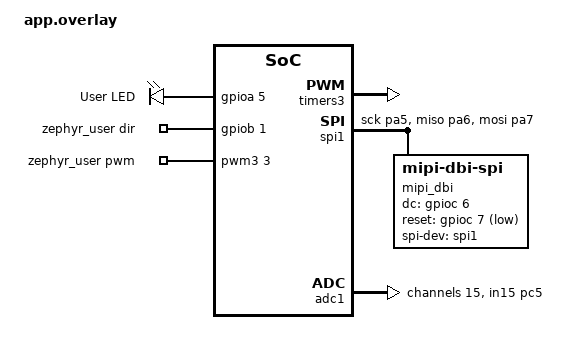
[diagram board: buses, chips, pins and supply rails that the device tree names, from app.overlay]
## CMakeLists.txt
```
cmake_minimum_required(VERSION 3.22)

set(ZEPHYR_TOOLCHAIN_VARIANT zephyr)
set(BOARD_ROOT ${CMAKE_CURRENT_LIST_DIR})

# Tell Zephyr to search app/boards/ for custom board definitions
list(APPEND BOARD_ROOT ${CMAKE_CURRENT_SOURCE_DIR})

find_package(Zephyr REQUIRED HINTS $ENV{ZEPHYR_BASE})
project(app)

target_include_directories(app PRIVATE src)

target_sources(app PRIVATE
	src/main.c
	src/temp/ssr.c
	src/display/display.c
	src/stepper/drv8452_spi.c
	src/stepper/stepper.c
	src/stepper/limit_sw.c
	src/temp/temp.c
	src/temp/temp_sensor.c
	src/temp/temp_control.c
	src/states/states.c)
```

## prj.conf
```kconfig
CONFIG_GPIO=y
CONFIG_BOOT_DELAY=500
CONFIG_REBOOT=y
CONFIG_HWINFO=y
CONFIG_PWM=y

# Console: RTT over SWD (no UART needed)

# RTT Console
CONFIG_USE_SEGGER_RTT=y
CONFIG_RTT_CONSOLE=y
CONFIG_UART_CONSOLE=n

# Logging via RTT
CONFIG_LOG=y
CONFIG_LOG_BACKEND_RTT=y
CONFIG_LOG_BACKEND_UART=n
CONFIG_LOG_PROCESS_THREAD=y

# Shell over RTT (Optional)
CONFIG_SHELL=y
CONFIG_SHELL_BACKENDS=y
CONFIG_SHELL_BACKEND_RTT=y
CONFIG_SHELL_BACKEND_SERIAL=n

CONFIG_SHELL_BACKEND_RTT_BUFFER=1
CONFIG_LOG_BACKEND_RTT_BUFFER=0

# ── Stack sizes ────────────────────────────────────────────────
CONFIG_MAIN_STACK_SIZE=2048
CONFIG_SYSTEM_WORKQUEUE_STACK_SIZE=2048
CONFIG_LV_Z_FLUSH_THREAD=n
# Use static buffer allocation — avoids heap allocation during init
CONFIG_LV_Z_BUFFER_ALLOC_STATIC=y

# Set bits per pixel explicitly for static buffer size calculation
CONFIG_LV_Z_BITS_PER_PIXEL=16


# ── Memory ─────────────────────────────────────────────────────
# Heap covers k_malloc, LVGL fallback allocs, and Zephyr drivers.
# 32KB is safer with two threads and LVGL running simultaneously.
CONFIG_HEAP_MEM_POOL_SIZE=16384

CONFIG_SPI=y
CONFIG_DISPLAY=y
CONFIG_ILI9341=y
CONFIG_MIPI_DBI=y

# ── LVGL ───────────────────────────────────────────────────────
CONFIG_LVGL=y
CONFIG_LV_COLOR_DEPTH_16=y
CONFIG_LV_COLOR_16_SWAP=y

# Memory pool: 32KB gives LVGL enough room for your screen objects.
# If you see LVGL assert failures lower this and check for leaks.
CONFIG_LV_Z_MEM_POOL_SIZE=16384

# Fonts — all used in display.c
CONFIG_LV_FONT_MONTSERRAT_12=y
CONFIG_LV_FONT_MONTSERRAT_14=y
CONFIG_LV_FONT_MONTSERRAT_16=y
CONFIG_LV_FONT_MONTSERRAT_18=y
CONFIG_LV_FONT_MONTSERRAT_28=y
CONFIG_LV_FONT_MONTSERRAT_40=y

# Widgets used in display.c
CONFIG_LV_USE_LABEL=y
CONFIG_LV_USE_BAR=y
CONFIG_LV_USE_LINE=y
CONFIG_LV_USE_ARC=y

CONFIG_FAULT_DUMP=2
CONFIG_MPU_STACK_GUARD=y

# ── Input subsystem ────────────────────────────────────────────
# Encoder and buttons are raw GPIO ISR — input subsystem only
# needed for its kernel infrastructure, not the qdec/keys drivers.
CONFIG_INPUT=y
# CONFIG_INPUT_GPIO_QDEC=y   — not used, encoder is raw GPIO ISR
# CONFIG_INPUT_GPIO_KEYS=y   — not used, buttons are raw GPIO ISR


# ── Fonts ──────────────────────────────────────────────────────
CONFIG_LV_FONT_MONTSERRAT_24=y

# ── Disable unused LVGL widgets (LVGL v9 symbols only) ─────────
CONFIG_LV_USE_CALENDAR=n
CONFIG_LV_USE_CALENDAR_HEADER_ARROW=n
CONFIG_LV_USE_CALENDAR_HEADER_DROPDOWN=n
CONFIG_LV_USE_CANVAS=n
CONFIG_LV_USE_CHECKBOX=n
CONFIG_LV_USE_DROPDOWN=n
CONFIG_LV_USE_ROLLER=n
CONFIG_LV_USE_SLIDER=n
CONFIG_LV_USE_SWITCH=n
CONFIG_LV_USE_TEXTAREA=n
CONFIG_LV_USE_TABLE=n
CONFIG_LV_USE_ANIMIMG=n
CONFIG_LV_USE_CHART=n
CONFIG_LV_USE_KEYBOARD=n
CONFIG_LV_USE_LED=n
CONFIG_LV_USE_LIST=n
CONFIG_LV_USE_MENU=n
CONFIG_LV_USE_MSGBOX=n
CONFIG_LV_USE_SPAN=n
CONFIG_LV_USE_SPINBOX=n
CONFIG_LV_USE_SPINNER=n
CONFIG_LV_USE_TABVIEW=n
CONFIG_LV_USE_TILEVIEW=n
CONFIG_LV_USE_WIN=n
CONFIG_LV_USE_THEME_DEFAULT=n
CONFIG_LV_USE_SNAPSHOT=n

#debugging
CONFIG_DEBUG_OPTIMIZATIONS=y
CONFIG_CBPRINTF_FP_SUPPORT=y

# Peripherals (uncomment as each subsystem is implemented)
# CONFIG_I2C=y     # AS5600 absolute encoder
CONFIG_ADC=y       # PT1000 temperature sensing
# CONFIG_PWM=y     # SSR heater (TIM1_CH1, PA8)
```

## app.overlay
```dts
#include <zephyr/dt-bindings/gpio/gpio.h>
#include <zephyr/dt-bindings/input/input-event-codes.h>
#include <zephyr/dt-bindings/pwm/pwm.h>
#include <zephyr/dt-bindings/adc/adc.h>
#include <zephyr/dt-bindings/display/panel.h>

/* ── Clock — use internal HSI, no external crystal on PCB ── */
&clk_hse {
    status = "disabled";
};

&pll {
    clocks = <&clk_hsi>;
    div-m = <16>;
    mul-n = <192>;
    div-p = <2>;
    div-q = <4>;
    status = "okay";
};

/* ── Free button pins from conflicting peripherals ──────────
 * PB10 = forward button  → also I2C2 SCL  → disable I2C2
 * PB15 = backward button → also SPI2 MOSI → disable SPI2
 * ─────────────────────────────────────────────────────────── */
&i2c2 {
    status = "disabled";
};

&spi2 {
    status = "disabled";
};

/ {
    /* Encoder (PC10/PC11) and buttons (PB10/PB15) are raw GPIO
     * ISR in display.c — no gpio-keys or gpio-qdec nodes needed.
     *
     * LED removed — PA5 conflicts with SPI1 SCK (display clock).
     * Add back once a free pin is confirmed on the PCB schematic. */

    chosen {
        zephyr,display = &ili9341;
    };

    aliases {
        stepper-step = &stepper_step_gpio;
        stepper-dir  = &stepper_dir_gpio;
        led0         = &user_led;
    };

    lvgl_encoder: lvgl_encoder {
        compatible = "zephyr,lvgl-encoder-input";
        rotation-input-code = <INPUT_REL_X>;
    };

    stepper_step_gpio: stepper_step {
        compatible = "gpio-leds";
        gpios = <&gpioa 0 GPIO_ACTIVE_HIGH>;    /* VERIFY pin against schematic */
    };

    stepper_dir_gpio: stepper_dir {
        compatible = "gpio-leds";
        gpios = <&gpioa 1 GPIO_ACTIVE_HIGH>;    /* VERIFY pin against schematic */
    };

    leds {
        compatible = "gpio-leds";
        user_led: led_0 {
            gpios = <&gpioa 5 GPIO_ACTIVE_HIGH>; /* VERIFY pin against schematic */
            label = "User LED";
        };
    };

    encoder: encoder {
        compatible = "gpio-qdec";
        gpios = <&gpiob 3 (GPIO_ACTIVE_HIGH | GPIO_PULL_UP)>,
                <&gpioa 10 (GPIO_ACTIVE_HIGH | GPIO_PULL_UP)>;
        zephyr,axis = <INPUT_REL_X>;
        steps-per-period = <4>;
        sample-time-us = <2000>;
        idle-timeout-ms = <200>;
        status = "disabled";
    };

    /*
     * Stepper motor resources for stepper.c (DRV8452, hardware interface mode)
     *
     * LQFP64 pin 26 = PB0 → STEP (TIM3_CH3 PWM output)
     * LQFP64 pin 27 = PB1 → DIR  (GPIO output)
     *
     * step-gpios is wired to PB0 (same pin as PWM output). On STM32 the GPIO
     * input buffer remains active in AF mode, so EXTI fires on every rising
     * edge of the TIM3_CH3 output. The step ISR in stepper.c uses this to
     * count pulses and stop the PWM exactly at the target step count.
     */
    zephyr_user: zephyr_user {
        compatible = "zephyr,user";
        pwms      = <&pwm3 3 100000 PWM_POLARITY_NORMAL>; /* TIM3_CH3, PB0 */
        dir-gpios  = <&gpiob 1 GPIO_ACTIVE_HIGH>;          /* PB1            */
    };
};

&gpiob {
    status = "okay";
};

&gpioc {
    status = "okay";
};

/* TIM3_CH3 on PB0 — STEP PWM output to DRV8452 */
&timers3 {
    status = "okay";
    st,prescaler = <1499>;  /* 96 MHz / 1500 = 64 kHz → max step period ~1.024 s */

    pwm3: pwm {
        status = "okay";
        pinctrl-0 = <&tim3_ch3_pb0>;
        pinctrl-names = "default";
        #pwm-cells = <3>;
    };
};

&spi1 {
    status = "okay";
    pinctrl-0 = <&spi1_sck_pa5 &spi1_miso_pa6 &spi1_mosi_pa7>;
    pinctrl-names = "default";
    cs-gpios = <&gpioa 4 GPIO_ACTIVE_LOW>;

    mipi_dbi: mipi-dbi-spi {
        compatible = "zephyr,mipi-dbi-spi";
        dc-gpios    = <&gpioc 6 GPIO_ACTIVE_HIGH>;
        reset-gpios = <&gpioc 7 GPIO_ACTIVE_LOW>;
        spi-dev     = <&spi1>;
        write-only;
        #address-cells = <1>;
        #size-cells    = <0>;

        ili9341: ili9341@0 {
            compatible        = "ilitek,ili9341";
            mipi-max-frequency = <25000000>;
            reg          = <0>;
            width        = <240>;
            height       = <320>;
            pixel-format = <PANEL_PIXEL_FORMAT_RGB_565X>;
            rotation     = <270>;
            frmctr1  = [00 1b];
            pwctrl1  = [10];
            vmctrl1  = [31 3c];
            vmctrl2  = [c0];
            pgamctrl = [0f 22 1f 0a 0e 06 4d 76 3b 03 0e 04 13 0e 0c];
            ngamctrl = [0c 23 26 04 10 04 39 24 4b 03 0b 0b 33 37 0f];
        };
    };
};

/* SPI2 hardware node DISABLED — top-row J502 traces (PB12-PB15) confirmed
 * physically dead. DRV8452 is now driven by GPIO bit-bang on bottom-row pins:
 *   PB6=nCS  PB7=SCLK  PB8=MOSI  PB5=MISO
 * NOTE: PB6 overlaps SPI1 cs-gpios (display) and PB8 overlaps MIPI DBI dc-gpios.
 * Display will not work while DRV8452 bit-bang is active on these pins. */

/* ADC1_IN15 on PC5 — PT1000 temperature sensing via voltage divider */
&pinctrl {
    adc1_in15_pc5: adc1_in15_pc5 {
        pinmux = <STM32_PINMUX('C', 5, ANALOG)>;
    };
};

&adc1 {
    status = "okay";
    #address-cells = <1>;
    #size-cells = <0>;
    pinctrl-0 = <&adc1_in15_pc5>;
    pinctrl-names = "default";
    st,adc-prescaler = <4>; /* APB2=90MHz → ADC clk=22.5MHz (max 36MHz) */

    channel@f {
        reg = <15>;
        zephyr,gain = "ADC_GAIN_1";
        zephyr,reference = "ADC_REF_INTERNAL";
        zephyr,acquisition-time = <ADC_ACQ_TIME_DEFAULT>;
        zephyr,resolution = <12>;
    };
};
```

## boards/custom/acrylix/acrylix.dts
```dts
/dts-v1/;

#include <st/f4/stm32f446Xe.dtsi>
#include <st/f4/stm32f446r(c-e)tx-pinctrl.dtsi>
#include <zephyr/dt-bindings/input/input-event-codes.h>

/ {
    model = "Acrylix Custom PCB";
    compatible = "custom,acrylix";

    chosen {
        zephyr,sram  = &sram0;
        zephyr,flash = &flash0;
    };
};

/* ── Clocks: HSI (16 MHz) → PLL → 180 MHz SYSCLK ── */
&clk_hsi {
    status = "okay";
};

&pll {
    div-m = <16>;
    mul-n = <360>;
    div-p = <2>;
    div-q = <8>;
    clocks = <&clk_hsi>;
    status = "okay";
};

&rcc {
    clocks = <&pll>;
    clock-frequency = <DT_FREQ_M(180)>;
    ahb-prescaler  = <1>;
    apb1-prescaler = <4>;   /* APB1 max 45 MHz → 180/4 = 45 MHz */
    apb2-prescaler = <2>;   /* APB2 max 90 MHz → 180/2 = 90 MHz */
};
```

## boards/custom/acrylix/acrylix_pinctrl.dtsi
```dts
/* Intentionally empty.
   All STM32 pinctrl definitions are provided by the SoC-level DTSI included
   in plaitpilot_procpu.dts:
       #include <st/f4/stm32f446r(c-e)tx-pinctrl.dtsi>
   Peripheral pinctrl-0 assignments are made per-node in app.overlay. */
```

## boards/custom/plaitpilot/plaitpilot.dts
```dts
/dts-v1/;

#include <st/f4/stm32f446Xe.dtsi>
#include "plaitpilot_pinctrl.dtsi"
#include <zephyr/dt-bindings/input/input-event-codes.h>

/ {
    model = "plaitpilot";
    compatible = "custom,plaitpilot";

    aliases {
        watchdog0 = &iwdg;
        led0 = &led0;
        uart-0 = &usart2;
        sw0 = &button0;
    };

    chosen {
        zephyr,sram = &sram0;
        zephyr,console = &usart2;
        zephyr,shell-uart = &usart2;
        zephyr,flash = &flash0;
    };

    buttons {
        compatible = "gpio-keys";
        button0: button_0 {
            gpios = <&gpioc 13 (GPIO_PULL_UP | GPIO_ACTIVE_LOW)>;
            label = "User Button";
            zephyr,code = <INPUT_KEY_0>;
        };
    };

    led {
        compatible = "gpio-leds";
        led0: led_0 {
            gpios = <&gpiob 10 GPIO_ACTIVE_HIGH>;
        };
    };
};

&usart2 {
    status = "okay";
    current-speed = <115200>;
    pinctrl-0 = <&usart2_tx_pa2 &usart2_rx_pa3>;
    pinctrl-names = "default";
};

&gpioa {
    status = "okay";
};

&gpiob {
    status = "okay";
};

&gpioc {
    status = "okay";
};

&iwdg {
    status = "okay";
};
```

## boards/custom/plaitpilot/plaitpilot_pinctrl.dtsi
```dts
#include <zephyr/dt-bindings/pinctrl/stm32-pinctrl.h>

&pinctrl {
    usart2_tx_pa2: usart2_tx_pa2 {
        pinmux = <STM32_PINMUX('A', 2, AF7)>;
    };
    usart2_rx_pa3: usart2_rx_pa3 {
        pinmux = <STM32_PINMUX('A', 3, AF7)>;
        bias-pull-up;
    };

    spi1_sck_pa5: spi1_sck_pa5 {
        pinmux = <STM32_PINMUX('A', 5, AF5)>;
        drive-push-pull;
        slew-rate = "very-high-speed";
    };
    spi1_miso_pa6: spi1_miso_pa6 {
        pinmux = <STM32_PINMUX('A', 6, AF5)>;
        bias-pull-down;
    };
    spi1_mosi_pa7: spi1_mosi_pa7 {
        pinmux = <STM32_PINMUX('A', 7, AF5)>;
        drive-push-pull;
        slew-rate = "very-high-speed";
    };
};
```

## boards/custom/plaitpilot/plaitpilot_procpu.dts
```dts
/dts-v1/;

#include "espressif/esp32/esp32_wroom_32ue_n4.dtsi"
#include "plaitpilot_pinctrl.dtsi"
// this is standard input codes like for a keyboard, mouse, joystick etc. - the purpose is for convenience
// you can always use these zephyr specific input macros in source code as long as you define them in this dts file, this way only the dts file changes and the source code does not
#include <zephyr/dt-bindings/input/input-event-codes.h>
// this is the SoC configuration (partitions like boot, appcpu, procpu, sys, storage, coredump)
#include <espressif/partitions_0x0_amp.dtsi>

/ {
    model = "plaitpilot PROCPU";
    compatible = "custom,plaitpilot";

    aliases {
        //driver code uses this to keep procesors alive during code execution
        watchdog0 = &wdt0;
        // this is an LED that is "permenantly" soldered on the board
        led0 = &led0;
        uart-0 = &uart0;
        sw0 = &button0;
    };

    // this determines which hardware instances you want to use for core system level functions
    chosen {
        zephyr,sram = &sram0;
        zephyr,console = &uart0;
        zephyr,shell-uart = &uart0;
        zephyr,flash = &flash0;
        zephyr,code-partition = &slot0_partition;
    };

    buttons {
        compatible = "gpio-keys";
        button0: button_0 {
            gpios = <&gpio 0 (GPIO_PULL_UP | GPIO_ACTIVE_LOW)>;
            label = "Boot Button";
            zephyr,code = <INPUT_KEY_0>;
        };
    };

    led {
        compatible = "gpio-leds";
        // this is SPI MOSI for plaitpliot, this is just for a blinky demo
        led0: d13 {
            gpios = <&gpio 13 GPIO_ACTIVE_HIGH>;
        };
    };
};

&uart0 {
    status = "okay";
    current-speed = <115200>;
    pinctrl-0 = <&uart0_default>;
    pinctrl-names = "default";
};

&gpio0 {
    status = "okay";
};

&wdt0 {
    status = "okay";
};
```

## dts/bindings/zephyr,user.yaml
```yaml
description: Generic zephyr,user node for passing board-level resources to application code.

compatible: "zephyr,user"

properties:
  pwms:
    type: phandle-array
    description: PWM specifier for stepper STEP signal.

  dir-gpios:
    type: phandle-array
    description: GPIO for stepper direction.

  step-gpios:
    type: phandle-array
    description: GPIO feedback pin for counting step pulses.
```

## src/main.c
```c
/* main.c */
#include <zephyr/kernel.h>
#include <zephyr/device.h>
#include <zephyr/drivers/gpio.h>
#include <zephyr/sys/reboot.h>
#include <zephyr/drivers/hwinfo.h>
#include "states/states.h"
#include "display/display.h"
#include "stepper/stepper.h"
#include "stepper/limit_sw.h"
#include "stepper/drv8452_spi.h"
#include "temp/temp_control.h"
#include "temp/temp_sensor.h"
#include "app_events.h"

/* ══════════════════════════════════════════════════════════════
 *  Heating time constants
 * ══════════════════════════════════════════════════════════════ */

#define HEAT_TIME_1_16_MS   240000   /* 1/16 in — 10 s */
#define HEAT_TIME_1_8_MS    240000   /* 1/8 in  — 5 s  */
#define COOL_TIME_MS        120000   /* cooling duration */

/* ══════════════════════════════════════════════════════════════
 *  Bending constants
 * ══════════════════════════════════════════════════════════════ */
#define BEND_TIME_MS        10000   /* bending duration — adjust later */
#define BEND_RPM            0.3f   /* RPM during bending */
#define HOME_RPM            0.5f   /* RPM during homing — slow for accuracy */
#define HOME_MAX_DEG        360.0f   /* max output-shaft degrees when homing (1 full rev) */

/* ══════════════════════════════════════════════════════════════
 *  Message queues (definitions — declared extern in states.h)
 * ══════════════════════════════════════════════════════════════ */

K_MSGQ_DEFINE(event_queue,   sizeof(system_event_t), 8, 4);
K_MSGQ_DEFINE(display_queue, sizeof(display_msg_t),  4, 4);

/* ══════════════════════════════════════════════════════════════
 *  Thread config
 * ══════════════════════════════════════════════════════════════ */

#define STATE_STACK_SIZE    8192
#define STATE_PRIORITY      7
#define DISPLAY_STACK_SIZE  20480   /* 20KB — debug optimizations inflate stack frames */
#define DISPLAY_PRIORITY    6

K_THREAD_STACK_DEFINE(state_stack,   STATE_STACK_SIZE);
K_THREAD_STACK_DEFINE(display_stack, DISPLAY_STACK_SIZE);
static struct k_thread state_thread_data;
static struct k_thread display_thread_data;


/* ══════════════════════════════════════════════════════════════
 *  State machine thread
 * ══════════════════════════════════════════════════════════════ */

void state_thread(void *p1, void *p2, void *p3)
{
    ARG_UNUSED(p1); ARG_UNUSED(p2); ARG_UNUSED(p3);
    size_t stack_free;
    k_thread_stack_space_get(k_current_get(), &stack_free);
    printk("State thread started, stack free: %zu\n", stack_free);

    while (1) {
        switch (g_sm.current) {

        /* ── HOMING ───────────────────────────────────────────
         * Enable driver, drive backward until limit switch ISR
         * fires (sets g_triggered flag + calls emergency_stop to
         * unblock the move), then reset position.
         * ─────────────────────────────────────────────────── */
        case STATE_HOMING: {
            limit_sw_set_enabled(true);
            drv8452_set_current(0x00u);  /* restore 100% current for homing move */

            /* Wait for any thermal fault to clear before moving */
            {
                int64_t fault_wait_start = k_uptime_get();
                while (drv8452_read_fault()) {
                    if (k_uptime_get() - fault_wait_start > 15000) {
                        printk("Homing: fault did not clear after 15s\n");
                        break;
                    }
                    drv8452_disable();
                    k_msleep(500);
                    drv8452_enable();
                }
            }

            drv8452_enable();
            limit_sw_clear_trigger();

            if (limit_sw_is_pressed()) {
                printk("Homing: already at home\n");
                stepper_reset_position();
                drv8452_disable();
                sm_transition(STATE_IDLE);
                break;
            }

            printk("Homing: moving backward %.0f deg at %.1f RPM\n",
                   (double)HOME_MAX_DEG, (double)HOME_RPM);
            stepper_move_degrees(HOME_MAX_DEG, HOME_RPM);

            if (limit_sw_triggered()) {
                printk("Homing: home found\n");
                stepper_reset_position();
                drv8452_disable();
                sm_transition(STATE_IDLE);
            } else {
                printk("Homing: limit switch not found — ERROR\n");
                g_sm.error_code = ERROR_HOMING_FAILED;
                drv8452_disable();
                sm_transition(STATE_ERROR);
            }
            break;
        }


        /* ── IDLE ─────────────────────────────────────────────
         * Directions screen shown. Wait for forward button
         * to post EVT_START_INIT.
         * ─────────────────────────────────────────────────── */
        case STATE_IDLE: {
            system_event_t evt;
            if (k_msgq_get(&event_queue, &evt, K_MSEC(100)) == 0) {
                if (evt == EVT_START_INIT) {
                    sm_transition(STATE_INITIALIZATION);
                }
            }
            break;
        }

        /* ── INITIALIZATION ───────────────────────────────────
         * Input screens run on display thread.
         * Wait for EVT_START_BEND posted after thickness confirm.
         * ─────────────────────────────────────────────────── */
        case STATE_INITIALIZATION: {
            system_event_t evt;
            if (k_msgq_get(&event_queue, &evt, K_MSEC(100)) == 0) {
                if (evt == EVT_START_HEAT) {
                    sm_transition(STATE_HEAT);
                }
                /* User pressed back from first input step */
                if (evt == EVT_START_IDLE) {
                    sm_transition(STATE_IDLE);
                }
            }
            break;
        }

        /* ── HEAT ─────────────────────────────────────────────
         * Turn on heating element to correct temperature.
         * Start timer to heat acrylic.
         * ─────────────────────────────────────────────────── */

        case STATE_HEAT: {
            #define TARGET_TEMP         150.0f   //make 150
            #define WARMUP_TIMEOUT_MS   120000

            printk("HEAT: starting heater, target=%.1f C\n", (double)TARGET_TEMP);
            heater_start();

            bool heat_error = false;
            int64_t warmup_start = k_uptime_get();

            /* Phase 1 — warmup: wait for target temperature */
            while (temp_get_ema() < TARGET_TEMP) {
                display_post_heat_temp(temp_get_ema());
                printk("HEAT: current=%.1f C\n", (double)temp_get_ema());
                k_sleep(K_MSEC(500));
                /*if (k_uptime_get() - warmup_start > WARMUP_TIMEOUT_MS) {
                    printk("HEAT: warmup timeout\n");
                    heat_error = true;
                    break;
                }*/
            }

            if (heat_error) {
                heater_stop();
                g_sm.error_code = ERROR_HEATER_TEMP;
                sm_transition(STATE_ERROR);
                break;
            }

            printk("HEAT: target temperature reached\n");

            /* Phase 2 — soak: hold at temperature for thickness-dependent time */
            int heat_ms = (g_inputs.thickness == 1)
                          ? HEAT_TIME_1_8_MS
                          : HEAT_TIME_1_16_MS;

            printk("HEAT: soaking %d ms (thickness=%s)\n",
                   heat_ms,
                   g_inputs.thickness == 1 ? "1/8 in" : "1/16 in");

            k_sem_take(&display_screen_ready, K_MSEC(2000));
            int64_t soak_start = k_uptime_get();
            while (1) {
                int64_t elapsed = k_uptime_get() - soak_start;
                if (elapsed >= heat_ms) break;
                int rem_ms = heat_ms - (int)elapsed;
                g_progress.pct = (int)((elapsed * 100) / heat_ms);
                g_progress.min = rem_ms / 60000;
                g_progress.sec = (rem_ms % 60000) / 1000;
                __DMB();
                g_progress.pending = true;
                k_sleep(K_MSEC(500));
            }
            g_progress.pct = 100;
            g_progress.min = 0;
            g_progress.sec = 0;
            __DMB();
            g_progress.pending = true;
            k_sleep(K_MSEC(300));

            heater_stop();
            printk("HEAT: done\n");
            sm_transition(STATE_BEND);
            break;
        }

        /* ── BEND ─────────────────────────────────────────────
         * Move motor to the user-selected bend angle.
         * Limit switch is the HOME sensor — not used here.
         * ─────────────────────────────────────────────────── */
        case STATE_BEND: {
            float target_deg = (float)g_inputs.bend_angle;
            printk("BEND: moving %.1f degrees at %.1f RPM\n",
                   (double)target_deg, (double)BEND_RPM);
            limit_sw_set_enabled(false);
            stepper_move_degrees(-target_deg, BEND_RPM);
            limit_sw_set_enabled(true);
            drv8452_set_current(0x01u);  /* 71% current for hold — halves heat, avoids OTW */
            drv8452_hold();
            printk("BEND: done. steps=%ld\n", stepper_get_steps());

            g_sm.bend_complete = true;
            sm_transition(STATE_COOL);
            break;
        }

        /* ── COOL ─────────────────────────────────────────────
         * Cooling countdown.
         * ─────────────────────────────────────────────────── */
        case STATE_COOL: {
            printk("Cooling: %d ms\n", COOL_TIME_MS);

            k_sem_take(&display_screen_ready, K_MSEC(2000));
            int64_t cool_start = k_uptime_get();
            while (1) {
                int64_t elapsed = k_uptime_get() - cool_start;
                if (elapsed >= COOL_TIME_MS) break;
                int rem_ms = COOL_TIME_MS - (int)elapsed;
                g_progress.pct = (int)((elapsed * 100) / COOL_TIME_MS);
                g_progress.min = rem_ms / 60000;
                g_progress.sec = (rem_ms % 60000) / 1000;
                __DMB();
                g_progress.pending = true;
                drv8452_hold();  /* keep EN_OUT=1 while arm cools at bend angle */
                k_sleep(K_MSEC(500));
            }
            g_progress.pct = 100;
            g_progress.min = 0;
            g_progress.sec = 0;
            __DMB();
            g_progress.pending = true;
            k_sleep(K_MSEC(300));

            g_sm.cool_complete = true;
            sm_transition(STATE_COMPLETE);
            break;
        }

        /* ── COMPLETE ─────────────────────────────────────────
         * Show complete screen. Forward button posts EVT_START_IDLE
         * to restart.
         * ─────────────────────────────────────────────────── */
        case STATE_COMPLETE: {
            /* Show complete screen for 3 s, then home the arm slowly */
            k_sleep(K_SECONDS(3));
            sm_transition(STATE_HOMING);
            break;
        }


        /* ── ERROR ────────────────────────────────────────────
         * Hold error screen 10 s then return to IDLE.
         * ─────────────────────────────────────────────────── */
        case STATE_ERROR:
            k_sleep(K_SECONDS(10));
            sm_transition(STATE_IDLE);
            break;

        default:
            printk("Unknown state: %d\n", g_sm.current);
            break;
        }

        k_sleep(K_MSEC(10));
    }
}

/* ══════════════════════════════════════════════════════════════
 *  Display thread
 * ══════════════════════════════════════════════════════════════ */

void display_thread(void *p1, void *p2, void *p3)
{
    ARG_UNUSED(p1); ARG_UNUSED(p2); ARG_UNUSED(p3);
    printk("Display thread started\n");

    if (display_init() != 0) {
        printk("Display init failed — rebooting\n");
        k_msleep(100);
        sys_reboot(SYS_REBOOT_COLD);
    }

    size_t disp_stack_free;
    k_thread_stack_space_get(k_current_get(), &disp_stack_free);
    printk("Display thread: stack free after init: %zu / %d\n",
           disp_stack_free, DISPLAY_STACK_SIZE);

    display_msg_t dmsg;
    while (1) {
        while (k_msgq_get(&display_queue, &dmsg, K_NO_WAIT) == 0) {
            display_set_state(dmsg.state);
        }
        display_update();
        k_sleep(K_MSEC(10));
    }
}

/* ══════════════════════════════════════════════════════════════
 *  Main
 * ══════════════════════════════════════════════════════════════ */

int main(void)
{
    printk("=== Acrylix boot ===\n");

    uint32_t reset_cause = 0;
    hwinfo_get_reset_cause(&reset_cause);
    hwinfo_clear_reset_cause();
    if (reset_cause & RESET_POR) {
        printk("Cold boot (POR) — rebooting for display stabilization\n");
        k_msleep(200);
        sys_reboot(SYS_REBOOT_COLD);
    }

    k_msleep(1000);

    /* Hardware init */
    limit_sw_init();
    temp_init();

    if (drv8452_spi_init() != 0) {
        printk("drv8452_spi_init failed\n");
    }
    if (stepper_init() != 0) {
        printk("stepper_init failed\n");
    }

    /*const struct device *gpioc_dev = DEVICE_DT_GET(DT_NODELABEL(gpioc));
    gpio_pin_configure(gpioc_dev, 7, GPIO_OUTPUT_ACTIVE);
    k_msleep(10);
    gpio_pin_set(gpioc_dev, 7, 0);  
    k_msleep(20);
    gpio_pin_set(gpioc_dev, 7, 1);
    k_msleep(150);    */              

    sm_init();
    printk("sm_init done \n");

    //sys_reboot(SYS_REBOOT_COLD);

    printk("creating state thread \n");
    k_tid_t state_tid = k_thread_create(
        &state_thread_data, state_stack,
        K_THREAD_STACK_SIZEOF(state_stack),
        state_thread, NULL, NULL, NULL,
        STATE_PRIORITY, 0, K_NO_WAIT);
    k_thread_name_set(state_tid, "state");
    printk("State thread created\n");

    printk("creating display thread \n");
    k_tid_t display_tid = k_thread_create(
        &display_thread_data, display_stack,
        K_THREAD_STACK_SIZEOF(display_stack),
        display_thread, NULL, NULL, NULL,
        DISPLAY_PRIORITY, 0, K_NO_WAIT);
    k_thread_name_set(display_tid, "display");
    printk("Display thread created\n");

    // /* SSR toggle test — PC9 high/low every 2 seconds */
    // const struct device *gpioc = DEVICE_DT_GET(DT_NODELABEL(gpioc));
    // gpio_pin_configure(gpioc, 9, GPIO_OUTPUT_INACTIVE);

    // while (1) {
    //     gpio_pin_set(gpioc, 9, 1);
    //     printk("SSR ON\n");
    //     k_sleep(K_SECONDS(2));

    //     gpio_pin_set(gpioc, 9, 0);
    //     printk("SSR OFF\n");
    //     k_sleep(K_SECONDS(2));
    // }

    k_sleep(K_FOREVER);
    return 0;
}
```

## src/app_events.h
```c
/* app_events.h
 * Shared event types and user inputs accessed by both display.c and states.c.
 * Neither display nor states should include each other directly.
 */
#ifndef APP_EVENTS_H
#define APP_EVENTS_H

#include <zephyr/kernel.h>

/* ── Events — posted by display, consumed by state thread ── */
typedef enum {
    STATE_IDLE = 0,
    STATE_HOMING,
    STATE_INITIALIZATION,
    STATE_HEAT,
    STATE_BEND,
    STATE_COOL,
    STATE_COMPLETE,
    STATE_ERROR
} system_state_t;

typedef enum {
    EVT_NONE = 0,
    EVT_START_IDLE,
    EVT_START_HOMING,
    EVT_START_INIT,
    EVT_START_HEAT,
    EVT_START_BEND,
    EVT_START_COOL,
    EVT_START_COMPLETE,
    EVT_ERROR
} system_event_t;

typedef struct {
    int  pct;
    int  min;
    int  sec;
    volatile bool pending;
    float bend_fraction;
    bool  bend_pending;  
} progress_update_t;

extern progress_update_t g_progress;

/* ── User inputs — written by display, read by state thread ── */
typedef struct {
    int bend_angle;   /* degrees, 0-90 */
    int thickness;    /* 0 = 1/16 in, 1 = 1/8 in */
    int bend_radii;   /* reserved */
} user_inputs_t;

/* ── Display message — sent over display_queue on state transition ── */
typedef struct {
    int state;   /* maps to display_set_state() parameter */
} display_msg_t;

/* ── Message queues — defined in main.c ── */
extern struct k_msgq event_queue;
extern struct k_msgq display_queue;

/* ── Global user inputs — defined in states.c ── */
extern user_inputs_t g_inputs;

/* ── Inline event helper ── */
static inline void event_post(system_event_t evt)
{
    k_msgq_put(&event_queue, &evt, K_NO_WAIT);
}

#endif /* APP_EVENTS_H */
```

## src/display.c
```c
#include "display.h"
#include <zephyr/kernel.h>
#include <zephyr/drivers/display.h>
/* #include <zephyr/input/input.h> */
#include <zephyr/input/input.h> 
#include <lvgl.h>
#include <stdio.h>

/* ── Display ── */
static const struct device *display_dev;
static lv_obj_t *position_label;
static lv_obj_t *direction_label;

/* ── Encoder state ── */
static int position = 0;
static int direction = 0;

#if 1
static void encoder_cb(struct input_event *evt, void *user_data)
{
    ARG_UNUSED(user_data);

    if (evt->type == INPUT_EV_REL && evt->code == INPUT_REL_X) {
        if (evt->value > 0) {
            position++;
            direction = 1;
        } else {
            position--;
            direction = -1;
        }

        char pos_str[16];
        printk("%d", position);
        printk("%d", direction);
        snprintf(pos_str, sizeof(pos_str), "%d", position);
        lv_label_set_text(position_label, pos_str);

        if (direction == 1) {
            lv_label_set_text(direction_label, "CW  >>>");
        } else {
            lv_label_set_text(direction_label, "<<< CCW");
        }

        printk("Encoder position: %d\n", position);
    }
}
#endif

INPUT_CALLBACK_DEFINE(NULL, encoder_cb, NULL);

int encoder_get_position(void)
{
    return position;
}

int encoder_get_direction(void)
{
    int dir = direction;
    direction = 0;
    return dir;
}

int display_init(void)
{
    display_dev = DEVICE_DT_GET(DT_NODELABEL(ili9341));

    if (!device_is_ready(display_dev)) {
        printk("Display not ready\n");
        return -1;
    }

    display_blanking_off(display_dev);
    printk("Display initialized\n");

    struct display_capabilities caps;
    display_get_capabilities(display_dev, &caps);
    printk("Display width: %d height: %d\n", caps.x_resolution, caps.y_resolution);
    printk("Pixel format: %d\n", caps.current_pixel_format);

    return 0;
}

void display_create_home_screen(void)
{
    printk("create home screen\n");
    lv_obj_clean(lv_scr_act());

    /* Title */
    lv_obj_t *title = lv_label_create(lv_scr_act());
    lv_label_set_text(title, "Encoder Position");
    lv_obj_align(title, LV_ALIGN_TOP_MID, 0, 20);

    /* Position number */
    position_label = lv_label_create(lv_scr_act());
    lv_label_set_text(position_label, "0");
    lv_obj_align(position_label, LV_ALIGN_CENTER, 0, -10);

    /* Direction label */
    lv_obj_t *dir_title = lv_label_create(lv_scr_act());
    lv_label_set_text(dir_title, "Direction:");
    lv_obj_align(dir_title, LV_ALIGN_BOTTOM_LEFT, 20, -10);

    direction_label = lv_label_create(lv_scr_act());
    lv_label_set_text(direction_label, "---");
    lv_obj_align(direction_label, LV_ALIGN_BOTTOM_RIGHT, -20, -10);
}

void display_update(void)
{
    lv_task_handler();
}
```

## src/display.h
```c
#ifndef DISPLAY_H
#define DISPLAY_H

#include <zephyr/kernel.h>
#include <zephyr/drivers/display.h>

#ifdef CONFIG_LVGL
#include <lvgl.h>
#endif

/* Initialize the display and LVGL */
int display_init(void);

/* Call this in your main loop every 10ms */
void display_update(void);

/* UI creation functions - add more as your project grows */
void display_create_home_screen(void);

/*encoder */
int encoder_get_position(void);
int encoder_get_direction(void);

#endif /* DISPLAY_H */
```

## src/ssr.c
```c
#include <zephyr/kernel.h>
#include <zephyr/drivers/gpio.h>
#include <zephyr/logging/log.h>
#include "ssr.h"

LOG_MODULE_REGISTER(ssr, LOG_LEVEL_INF);

static const struct device *gpioc;

void ssr_init(void)
{
    gpioc = DEVICE_DT_GET(DT_NODELABEL(gpioc));

    if (!device_is_ready(gpioc)) {
        LOG_ERR("GPIOC not ready");
        return;
    }

    gpio_pin_configure(gpioc, 9, GPIO_OUTPUT_INACTIVE);
    LOG_INF("SSR init OK (PC9)");
}

void ssr_set(bool on)
{
    gpio_pin_set(gpioc, 9, on ? 0 : 1);
    LOG_INF("SSR %s", on ? "ON" : "OFF");
}
```
